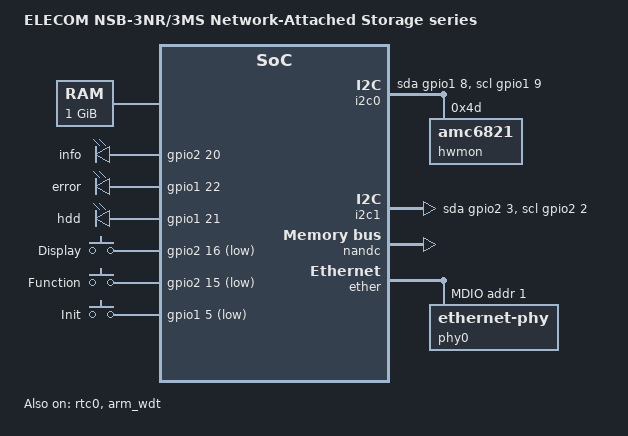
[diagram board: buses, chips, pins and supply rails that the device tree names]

/dts-v1/;
#include "cs75xx.dtsi"
#include <dt-bindings/input/input.h>

/ {
	model = "ELECOM NSB-3NR/3MS Network-Attached Storage series";

	memory {
		device_type = "memory";
		reg = <0x00000000 0x40000000>; /* 1GB */
	};

#if 0
	chosen {
		bootargs = "console=ttyS0,115200 loglevel=8";
	};
#endif

#if 0
	alias {
		i2c0 = &i2c0;
		i2c1 = &i2c1;
	};
#endif

	leds {
		compatible = "gpio-leds";
		info {
			label = "info";
			gpios = <&gpio2 20 GPIO_ACTIVE_HIGH>;
			default-state = "on";
		};
		error {
			label = "error";
			gpios = <&gpio1 22 GPIO_ACTIVE_HIGH>;
			default-state = "off";
		};
		hdd {
			label = "hdd";
			gpios = <&gpio1 21 GPIO_ACTIVE_HIGH>;
			default-state = "off";
		};
	};

	buttons {
		compatible = "gpio-keys";
		display {
			label = "Display";
			gpios = <&gpio2 16 GPIO_ACTIVE_LOW>;
			linux,code = <BTN_0>;
		};
		function {
			label = "Function";
			gpios = <&gpio2 15 GPIO_ACTIVE_LOW>;
			linux,code = <BTN_1>;
		};
		init {
			label = "Init";
			gpios = <&gpio1 5 GPIO_ACTIVE_LOW>;
			linux,code = <KEY_RESTART>;
		};
	};

	i2c0: i2c@0 {
		compatible = "i2c-gpio";
		gpios = <&gpio1 8 GPIO_ACTIVE_HIGH	/* SDA */
			 &gpio1 9 GPIO_ACTIVE_HIGH	/* SCL */
			>;
		i2c-gpio,delay-us = <2>;
		#address-cells = <1>;
		#size-cells = <0>;

		hwmon@4d {
			compatible = "amc6821";
			reg = <0x4d>;
		};
	};
	i2c1: i2c@1 {
		compatible = "i2c-gpio";
		gpios = <&gpio2 3 GPIO_ACTIVE_HIGH	/* SDA */
			 &gpio2 2 GPIO_ACTIVE_HIGH	/* SCL */
			>;
		i2c-gpio,delay-us = <2>;
		#address-cells = <1>;
		#size-cells = <0>;

		/* connected OLED as 0x3C */
	};
};

/* board specific initial values of GPIO_MUXn */
&gpio0 {
	mux-initval = <0x00000000>;
};
&gpio1 {
	mux-initval = <0x00000000>;
};
&gpio2 {
	mux-initval = <0xFFFFFFFF>;
};
&gpio3 {
	mux-initval = <0x00000000>;
};
&gpio4 {
	mux-initval = <0xFFFFFFFF>;
};

&rtc0 {
	status = "ok";
};

&arm_wdt {
	status = "ok";
};

#if 0
&soc_i2c {
	clock-frequency = <100000>;
	status = "ok";
};
#endif

&nandc {
	status = "ok";
};

&ether {
	status = "ok";

	mdio {
		phy0: ethernet-phy@1 {
			reg = <1>;
		};
	};
};
